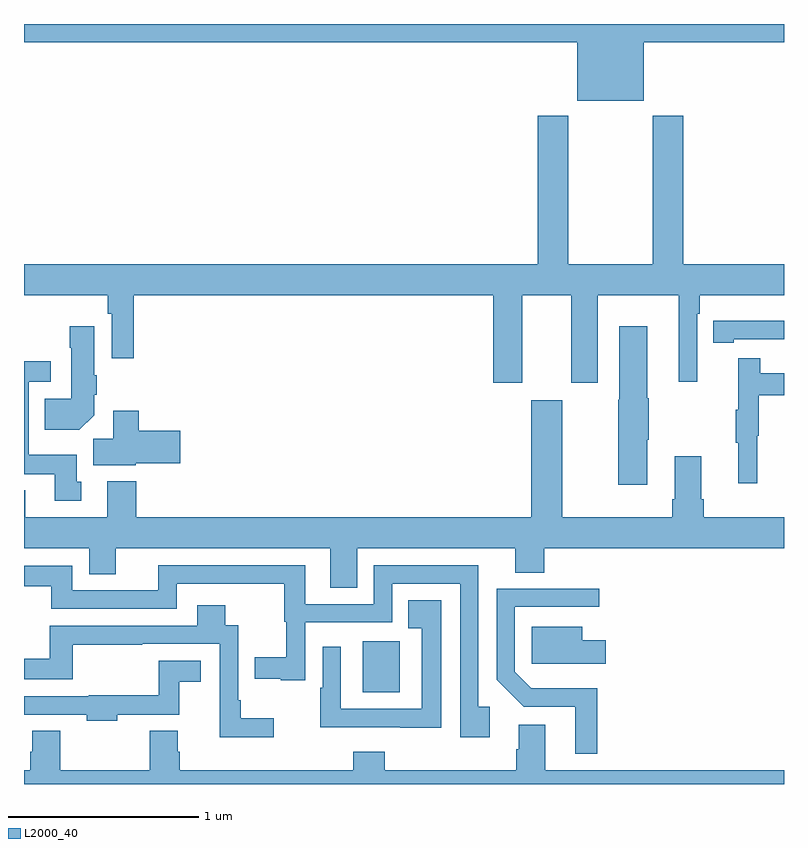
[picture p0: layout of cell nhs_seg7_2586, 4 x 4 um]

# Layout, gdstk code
import gdstk
lib = gdstk.Library(unit=1e-6, precision=1e-09)
def R(c, l, rs):  # rectangles x0, y0, x1, y1
    for r in rs: c.add(gdstk.rectangle(r[:2], r[2:], *l))
def P(c, l, *ps):  # polygons
    for p in ps: c.add(gdstk.Polygon(p, *l))
L2000_40 = (2000, 40)

nhs_seg7_2586 = lib.new_cell('nhs_seg7_2586')
R(nhs_seg7_2586, L2000_40, [(280.784,1042.484,280.978,1042.752)])
P(nhs_seg7_2586, L2000_40, [(282.262,1045.904),(283,1045.904),(283,1046),(279,1046),(279,1045.904),(281.912,1045.904),(281.912,1045.595),(282.262,1045.595)],
  [(279,1044.572),(279.442,1044.572),(279.442,1044.476),(279.462,1044.476),(279.462,1044.24),(279.578,1044.24),(279.578,1044.572),(281.471,1044.572),(281.471,1044.111),(281.623,1044.111),(281.623,1044.572),(281.879,1044.572),(281.879,1044.111),(282.019,1044.111),(282.019,1044.572),(282.446,1044.572),(282.446,1044.117),(282.543,1044.117),(282.543,1044.476),(282.557,1044.476),(282.557,1044.572),(283,1044.572),(283,1044.736),(282.47,1044.736),(282.47,1045.516),(282.31,1045.516),(282.31,1044.736),(281.865,1044.736),(281.865,1045.516),(281.705,1045.516),(281.705,1044.736),(279,1044.736)],
  [(282.736,1044.342),(283,1044.342),(283,1044.439),(282.736,1044.439),(282.736,1044.438),(282.628,1044.438),(282.628,1044.322),(282.736,1044.322)],
  [(282.28,1043.812),(282.288,1043.812),(282.288,1044.029),(282.28,1044.029),(282.28,1044.409),(282.134,1044.409),(282.134,1044.023),(282.127,1044.023),(282.127,1043.574),(282.28,1043.574)],
  [(279.37,1043.942),(279.37,1044.049),(279.383,1044.049),(279.383,1044.152),(279.37,1044.152),(279.37,1044.409),(279.241,1044.409),(279.241,1044.296),(279.248,1044.296),(279.248,1044.028),(279.109,1044.028),(279.109,1043.864),(279.292,1043.864)],
  [(282.86,1043.832),(282.868,1043.832),(282.868,1044.046),(283,1044.046),(283,1044.162),(282.875,1044.162),(282.875,1044.241),(282.758,1044.241),(282.758,1043.969),(282.747,1043.969),(282.747,1043.795),(282.758,1043.795),(282.758,1043.583),(282.86,1043.583)],
  [(279.301,1043.592),(279.277,1043.592),(279.277,1043.734),(279.024,1043.734),(279.024,1044.117),(279.142,1044.117),(279.142,1044.226),(279,1044.226),(279,1043.63),(279.161,1043.63),(279.161,1043.49),(279.301,1043.49)],
  [(283,1043.404),(282.578,1043.404),(282.578,1043.5),(282.565,1043.5),(282.565,1043.725),(282.425,1043.725),(282.425,1043.5),(282.413,1043.5),(282.413,1043.404),(281.833,1043.404),(281.833,1044.019),(281.669,1044.019),(281.669,1043.404),(279.59,1043.404),(279.59,1043.593),(279.437,1043.593),(279.437,1043.404),(279.007,1043.404),(279.007,1043.545),(279,1043.545),(279,1043.24),(279.344,1043.24),(279.344,1043.104),(279.484,1043.104),(279.484,1043.24),(280.613,1043.24),(280.613,1043.032),(280.753,1043.032),(280.753,1043.24),(281.585,1043.24),(281.585,1043.113),(281.738,1043.113),(281.738,1043.24),(283,1043.24)],
  [(279.588,1043.687),(279.823,1043.687),(279.823,1043.858),(279.605,1043.858),(279.605,1043.965),(279.47,1043.965),(279.47,1043.816),(279.365,1043.816),(279.365,1043.678),(279.588,1043.678)],
  [(281.452,1042.406),(281.391,1042.406),(281.391,1043.151),(280.842,1043.151),(280.842,1042.947),(280.48,1042.947),(280.48,1043.151),(279.706,1043.151),(279.706,1043.019),(279.255,1043.019),(279.255,1043.148),(279,1043.148),(279,1043.04),(279.143,1043.04),(279.143,1042.923),(279.804,1042.923),(279.804,1043.055),(280.147,1043.055),(280.147,1043.053),(280.371,1043.053),(280.371,1042.854),(280.381,1042.854),(280.381,1042.666),(280.215,1042.666),(280.215,1042.555),(280.352,1042.555),(280.352,1042.545),(280.479,1042.545),(280.479,1042.851),(280.938,1042.851),(280.938,1043.055),(281.295,1043.055),(281.295,1042.245),(281.452,1042.245)],
  [(282.017,1042.504),(281.669,1042.504),(281.583,1042.59),(281.583,1042.932),(282.028,1042.932),(282.028,1043.028),(281.487,1043.028),(281.487,1042.55),(281.63,1042.407),(281.9,1042.407),(281.9,1042.158),(282.017,1042.158)],
  [(281.197,1042.966),(281.023,1042.966),(281.023,1042.82),(281.093,1042.82),(281.093,1042.395),(280.668,1042.395),(280.668,1042.723),(280.572,1042.723),(280.572,1042.506),(280.56,1042.506),(280.56,1042.299),(280.981,1042.299),(280.981,1042.297),(281.197,1042.297)],
  [(280.315,1042.346),(280.141,1042.346),(280.141,1042.441),(280.128,1042.441),(280.128,1042.836),(280.059,1042.836),(280.059,1042.942),(279.911,1042.942),(279.911,1042.833),(279.135,1042.833),(279.135,1042.66),(279,1042.66),(279,1042.551),(279.256,1042.551),(279.256,1042.732),(279.623,1042.732),(279.623,1042.737),(280.031,1042.737),(280.031,1042.247),(280.315,1042.247)],
  [(282.061,1042.756),(281.938,1042.756),(281.938,1042.828),(281.673,1042.828),(281.673,1042.634),(282.061,1042.634)],
  [(279.491,1042.365),(279.818,1042.365),(279.818,1042.538),(279.931,1042.538),(279.931,1042.648),(279.708,1042.648),(279.708,1042.466),(279.342,1042.466),(279.342,1042.461),(279,1042.461),(279,1042.365),(279.331,1042.365),(279.331,1042.334),(279.491,1042.334)],
  [(283,1042.072),(281.743,1042.072),(281.743,1042.312),(281.603,1042.312),(281.603,1042.184),(281.591,1042.184),(281.591,1042.072),(280.898,1042.072),(280.898,1042.171),(280.733,1042.171),(280.733,1042.072),(279.821,1042.072),(279.821,1042.17),(279.808,1042.17),(279.808,1042.28),(279.661,1042.28),(279.661,1042.072),(279.192,1042.072),(279.192,1042.28),(279.044,1042.28),(279.044,1042.17),(279.032,1042.17),(279.032,1042.072),(279,1042.072),(279,1042),(283,1042)])

lib.write_gds('nhs_seg7_2586.gds')
